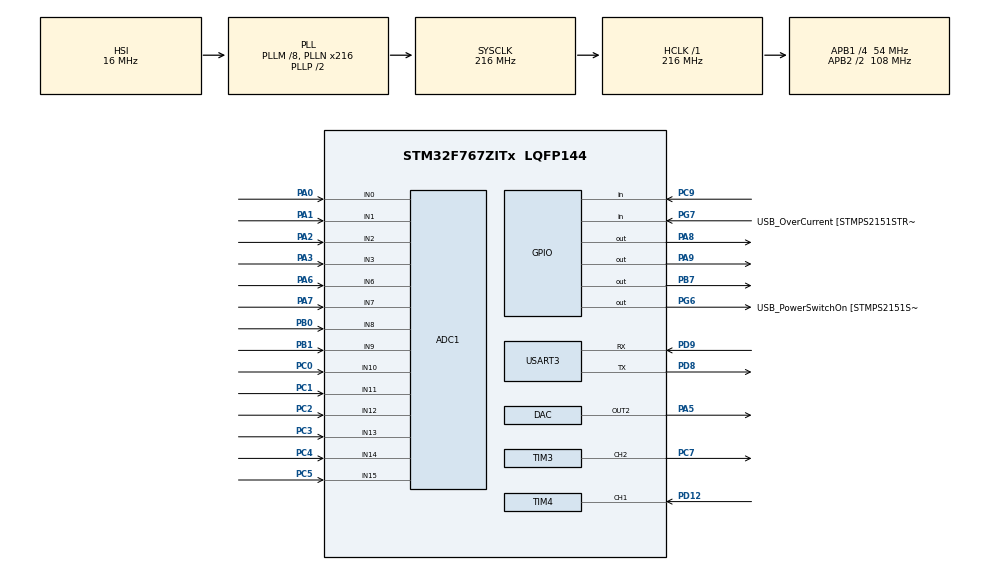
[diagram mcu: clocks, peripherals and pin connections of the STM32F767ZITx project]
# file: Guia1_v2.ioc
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ADC1.Channel-2\#ChannelRegularConversion=ADC_CHANNEL_0
ADC1.ExternalTrigConv=ADC_SOFTWARE_START
ADC1.NbrOfConversionFlag=1
ADC1.Rank-2\#ChannelRegularConversion=1
ADC1.SamplingTime-2\#ChannelRegularConversion=ADC_SAMPLETIME_3CYCLES
ADC1.master=1
DAC.DAC_Trigger2=DAC_TRIGGER_T2_TRGO
Dma.DAC2.0.Direction=DMA_MEMORY_TO_PERIPH
Dma.DAC2.0.FIFOMode=DMA_FIFOMODE_DISABLE
Dma.DAC2.0.Instance=DMA1_Stream6
Dma.DAC2.0.MemDataAlignment=DMA_MDATAALIGN_WORD
Dma.DAC2.0.MemInc=DMA_MINC_ENABLE
Dma.DAC2.0.Mode=DMA_CIRCULAR
Dma.DAC2.0.PeriphDataAlignment=DMA_PDATAALIGN_WORD
Dma.DAC2.0.PeriphInc=DMA_PINC_DISABLE
Dma.DAC2.0.Priority=DMA_PRIORITY_LOW
Dma.Request0=DAC2
Mcu.Family=STM32F7
Mcu.Name=STM32F767ZITx
Mcu.Package=LQFP144
NVIC.DMA1_Stream6_IRQn=true\:0\:0\:false\:false\:true\:false\:true
NVIC.PriorityGroup=NVIC_PRIORITYGROUP_4
NVIC.TIM1_BRK_TIM9_IRQn=true\:0\:0\:false\:false\:true\:true\:true
NVIC.TIM2_IRQn=true\:0\:0\:false\:false\:true\:true\:true
NVIC.TIM4_IRQn=true\:0\:0\:false\:false\:true\:true\:true
NVIC.TIM6_DAC_IRQn=true\:0\:0\:false\:false\:true\:true\:true
NVIC.TIM7_IRQn=true\:0\:0\:false\:false\:true\:true\:true
NVIC.USART3_IRQn=true\:0\:0\:false\:false\:true\:true\:true
PA0/WKUP.Signal=ADCx_IN0
PA1.Signal=ADCx_IN1
PA13.Mode=Serial_Wire
PA13.Signal=SYS_JTMS-SWDIO
PA14.Mode=Serial_Wire
PA14.Signal=SYS_JTCK-SWCLK
PA2.Signal=ADCx_IN2
PA3.Signal=ADCx_IN3
PA5.Signal=COMP_DAC2_group
PA6.Signal=ADCx_IN6
PA7.Signal=ADCx_IN7
PA8.Signal=GPIO_Output
PA9.Signal=GPIO_Output
PB0.Signal=ADCx_IN8
PB1.Signal=ADCx_IN9
PB7.Signal=GPIO_Output
PC0.Signal=ADCx_IN10
PC1.Signal=ADCx_IN11
PC2.Signal=ADCx_IN12
PC3.Signal=ADCx_IN13
PC4.Signal=ADCx_IN14
PC5.Signal=ADCx_IN15
PC7.Signal=S_TIM3_CH2
PC9.Signal=GPIO_Input
PD12.Signal=S_TIM4_CH1
PD8.Mode=Asynchronous
PD8.Signal=USART3_TX
PD9.Mode=Asynchronous
PD9.Signal=USART3_RX
PG6.GPIO_Label=USB_PowerSwitchOn [STMPS2151STR_EN]
PG6.Signal=GPIO_Output
PG7.GPIO_Label=USB_OverCurrent [STMPS2151STR_FAULT]
PG7.Signal=GPIO_Input
ProjectManager.HeapSize=0x200
ProjectManager.StackSize=0x400
ProjectManager.TargetToolchain=MDK-ARM V5.27
RCC.48MHZClocksFreq_Value=24000000
RCC.AHBFreq_Value=216000000
RCC.APB1CLKDivider=RCC_HCLK_DIV4
RCC.APB1Freq_Value=54000000
RCC.APB1TimFreq_Value=108000000
RCC.APB2CLKDivider=RCC_HCLK_DIV2
RCC.APB2Freq_Value=108000000
RCC.APB2TimFreq_Value=216000000
RCC.CortexFreq_Value=216000000
RCC.HCLKFreq_Value=216000000
RCC.HSE_VALUE=16000000
RCC.HSI_VALUE=16000000
RCC.LSE_VALUE=32768
RCC.PLLM=8
RCC.PLLMUL=RCC_PLL_MUL9
RCC.PLLN=216
RCC.PRESCALERUSB=RCC_USBCLKSOURCE_PLL_DIV1_5
RCC.SYSCLKFreq_VALUE=216000000
RCC.SYSCLKSource=RCC_SYSCLKSOURCE_PLLCLK
RCC.SYSCLKSourceVirtual=RCC_SYSCLKSOURCE_PLLCLK
RCC.USBFreq_Value=216000000
RCC.VCOOutputFreq_Value=432000000
SH.ADCx_IN0.0=ADC1_IN0,IN0
SH.ADCx_IN1.0=ADC1_IN1,IN1
SH.ADCx_IN10.0=ADC1_IN10,IN10
SH.ADCx_IN11.0=ADC1_IN11,IN11
SH.ADCx_IN12.0=ADC1_IN12,IN12
SH.ADCx_IN13.0=ADC1_IN13,IN13
SH.ADCx_IN14.0=ADC1_IN14,IN14
SH.ADCx_IN15.0=ADC1_IN15,IN15
SH.ADCx_IN2.0=ADC1_IN2,IN2
SH.ADCx_IN3.0=ADC1_IN3,IN3
SH.ADCx_IN6.0=ADC1_IN6,IN6
SH.ADCx_IN7.0=ADC1_IN7,IN7
SH.ADCx_IN8.0=ADC1_IN8,IN8
SH.ADCx_IN9.0=ADC1_IN9,IN9
SH.COMP_DAC2_group.0=DAC_OUT2,DAC_OUT2
SH.S_TIM3_CH2.0=TIM3_CH2,PWM Generation2 CH2
SH.S_TIM4_CH1.0=TIM4_CH1,Input_Capture1_from_TI1
TIM2.Period=36000-1
TIM2.Prescaler=1-1
TIM2.TIM_MasterOutputTrigger=TIM_TRGO_UPDATE
TIM3.AutoReloadPreload=TIM_AUTORELOAD_PRELOAD_ENABLE
TIM3.Channel-PWM\ Generation2\ CH2=TIM_CHANNEL_2
TIM3.Period=25000
TIM3.Prescaler=3
TIM3.TIM_MasterOutputTrigger=TIM_TRGO_OC2REF
TIM4.AutoReloadPreload=TIM_AUTORELOAD_PRELOAD_DISABLE
TIM4.Channel-Input_Capture1_from_TI1=TIM_CHANNEL_1
TIM6.AutoReloadPreload=TIM_AUTORELOAD_PRELOAD_ENABLE
TIM6.TIM_MasterOutputTrigger=TIM_TRGO_RESET
TIM7.AutoReloadPreload=TIM_AUTORELOAD_PRELOAD_ENABLE
TIM9.AutoReloadPreload=TIM_AUTORELOAD_PRELOAD_ENABLE
USART3.VirtualMode-Asynchronous=VM_ASYNC
VP_TIM2_VS_ClockSourceINT.Mode=Internal
VP_TIM6_VS_ClockSourceINT.Mode=Enable_Timer
VP_TIM7_VS_ClockSourceINT.Mode=Enable_Timer
VP_TIM9_VS_ClockSourceINT.Mode=Internal
board=NUCLEO-F767ZI

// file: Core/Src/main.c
/* USER CODE BEGIN Header */
/**
  ******************************************************************************
  * @file           : main.c
  * @brief          : Main program body
  ******************************************************************************
  * @attention
  *
  * <h2><center>&copy; Copyright (c) 2021 STMicroelectronics.
  * All rights reserved.</center></h2>
  *
  * This software component is licensed by ST under BSD 3-Clause license,
  * the "License"; You may not use this file except in compliance with the
  * License. You may obtain a copy of the License at:
  *                        opensource.org/licenses/BSD-3-Clause
  *
  ******************************************************************************
  */
/* USER CODE END Header */
#include "main.h"
#include "adc.h"
#include "dac.h"
#include "dma.h"
#include "tim.h"
#include "usart.h"
#include "gpio.h"

/* USER CODE BEGIN Includes */
#include "stdio.h"
#include "stdlib.h"
#include "string.h"
#include "ctype.h"
#include "math.h"

/* USER CODE END Includes */

/* USER CODE BEGIN PTD */
extern signal_s *adc_signal;
extern sampling_s *sampling;
extern pid_s *pid;
extern uint8_t sampling_print;
extern char sampling_buffer[20];

/* USER CODE END PTD */

/* USER CODE BEGIN PD */
//#define MR 	0x4D52
//#define MW 	0x4D57
//#define MI 	0x4D49
//#define MO 	0x4D4F
//#define RD 	0x5244
//#define WD 	0x5744
//#define RA 	0x5241
//#define VER 0x564552
//#define WG 	0x5747
//#define SIN 0x53494E
//#define SQR 0x535152
//#define TRI 0x545249
//#define STW 0x535457
//#define OFF 0x4F4646
#define SP 	0x5350
#define AC 	0x4143
#define FN 	0x464E
#define FF 	0x4646
#define S 	0x53
#define ST 	0x5354
#define MS 0X4D53
#define MICRO 0x4D494352
#define CS 	0x4353
#define EN 	0x454E
#define UN 	0x554E
//#define VR 	0x5652
#define HW 	0x4857
#define FSW 	0x465357
#define SW 	0x5357
#define STW 	0x535457
#define  AUT 0x415554
#define  YR 0x5952
#define  KD 0x4B44
#define  KI 0x4B49
#define  KP 0x4B50
#define  A 0x41
#define  H 0x48
#define  U 0x55
#define  US 0x5553

#define PORT_A 0x40020000U
#define PORT_B 0x40020400U
#define PORT_C 0x40020800U
#define PORT_D 0x40020C00U
#define PORT_E 0x40021000U
#define PORT_F 0x40021400U
#define PORT_G 0x40021800U
#define PORT_H 0x40021C00U
#define PORT_I 0x40022000U
#define PORT_J 0x40022400U
#define PORT_K 0x40022800U
#define PORT_K_END 0x40022BFFU

#define VERIFY_LIMITS(a, b, c, d)\
if(a / b < 1) c = a;\
else return d;

typedef struct command {
	unsigned short addr;
	uint32_t port_addr, addr3, freq;
	int signval;
	uint16_t pin_setting, pin_values;
	char instruction[4], signal[4], lenght, byte;
}command_c;

/* USER CODE END PD */

/* USER CODE BEGIN PV */

uint8_t memory_buffer[0x1000]={0};
unsigned char Rx_indx;
char adc_buffer[10];
uint8_t control_mode;
uint8_t enable;
uint8_t control;
float v_ref;
/* USER CODE END PV */

void SystemClock_Config(void);

/* USER CODE BEGIN 0 */

GPIO_TypeDef* Discover_Port(command_c* command){
	if (command->port_addr >= PORT_A && command->port_addr < PORT_B) {__HAL_RCC_GPIOA_CLK_ENABLE(); return GPIOA;}
	else if (command->port_addr >= PORT_B && command->port_addr < PORT_C) {__HAL_RCC_GPIOB_CLK_ENABLE(); return GPIOB;}
	else if (command->port_addr >= PORT_C && command->port_addr < PORT_D) {__HAL_RCC_GPIOC_CLK_ENABLE(); return GPIOC;}
	else if (command->port_addr >= PORT_D && command->port_addr < PORT_E) {__HAL_RCC_GPIOD_CLK_ENABLE(); return GPIOD;}
	else if (command->port_addr >= PORT_E && command->port_addr < PORT_F) {__HAL_RCC_GPIOE_CLK_ENABLE(); return GPIOE;}
	else if (command->port_addr >= PORT_F && command->port_addr < PORT_G) {__HAL_RCC_GPIOF_CLK_ENABLE(); return GPIOF;}
	else if (command->port_addr >= PORT_G && command->port_addr < PORT_H) {__HAL_RCC_GPIOG_CLK_ENABLE(); return GPIOG;}
	else if (command->port_addr >= PORT_H && command->port_addr < PORT_I) {__HAL_RCC_GPIOH_CLK_ENABLE(); return GPIOH;}
	else if (command->port_addr >= PORT_I && command->port_addr < PORT_J) {__HAL_RCC_GPIOI_CLK_ENABLE(); return GPIOI;}
	else if (command->port_addr >= PORT_J && command->port_addr < PORT_K) {__HAL_RCC_GPIOJ_CLK_ENABLE(); return GPIOJ;}
	else if (command->port_addr >= PORT_K && command->port_addr < PORT_K_END) {__HAL_RCC_GPIOK_CLK_ENABLE(); return GPIOK;}
	return NULL;
}

int verify_instruction(char comm_instruction[4]) {
	switch (strlen(comm_instruction)) {
	case 1:
		return comm_instruction[0];
	case 2:
		return ((comm_instruction[0] << 8) + comm_instruction[1]);
	case 3:
		return ((comm_instruction[0] << 16) + (comm_instruction[1] << 8) + comm_instruction[2]);
	default:
		return 0;
	}
}

void execution(command_c *command){
	int instruction=0, signal=0, timeunit=0, counter=0;
	char buffer[128]={0};
//	uint16_t adcValue;
//	GPIO_InitTypeDef GPIO_Struct;
//	GPIO_TypeDef * port;
	instruction=verify_instruction(command->instruction);
	switch (instruction){
//		case MR:
//			print_message("Memory reading\n");
//			HAL_Delay(500);
//			for(int i=0; i<command->lenght; i++){
//				sprintf(buffer, " -> Position 0x%X: %X", (command->addr+i), memory_buffer[command->addr+i]);
//				print_message(buffer);
//				HAL_Delay(500);
//			}
//			break;
//
//		case MW:
//			print_message("Memory Writing\n");
//			HAL_Delay(500);
//			for(int i=0; i<command->lenght; i++){
//				memory_buffer[command->addr+i]=command->byte;
//				sprintf(buffer, " -> Position 0x%X: %X", (command->addr+i), memory_buffer[command->addr+i]);
//				print_message(buffer);
//				HAL_Delay(500);
//			}
//			break;
//
//		case MI:
//		case MO:
//			if (Discover_Port(command) != NULL) port=Discover_Port(command);
//			GPIO_Struct.Pin |= command->pin_setting;
//			GPIO_Struct.Pull = GPIO_NOPULL;
//			switch(instruction){
//				case MI:
//					print_message("Making Pin as Input\n");
//					GPIO_Struct.Mode=GPIO_MODE_INPUT;
//					break;
//				case MO:
//					print_message("Making Pin as Output\n");
//					HAL_GPIO_WritePin(port, command->pin_setting, GPIO_PIN_RESET);
//					GPIO_Struct.Mode=GPIO_MODE_OUTPUT_PP;
//					GPIO_Struct.Speed=GPIO_SPEED_FREQ_LOW;
//					break;
//			}
//			HAL_GPIO_Init(port,&GPIO_Struct);
//			HAL_Delay(500);
//			break;
//
//		case RD:
//		case WD:
//			if (Discover_Port(command) != NULL) port=Discover_Port(command);
//			switch(instruction){
//				case RD:
//					print_message("Reading Pins\n");
//					for(int i=0; i<16; i++){
//						if(command->pin_setting & (1<<i)){
//							sprintf(buffer, "Pin %d Logic Value: %d",i, HAL_GPIO_ReadPin(port, (1<<i)));
//							print_message(buffer);
//					 }
//					}
//					break;
//				case WD:
//					print_message("Writing Pins\n");
//					for(int i=0; i<16; i++){
//						if(command->pin_values & (1<<i)){
//							HAL_GPIO_WritePin(port, (1<<i), GPIO_PIN_SET);
//						}
//
//							else{
//								HAL_GPIO_WritePin(port, (1<<i), GPIO_PIN_RESET);
//							}
//
//
//					}
//					break;
//			}
//			HAL_Delay(500);
//			break;

//		case RA:
//			HAL_ADC_Start(&hadc1);
//			HAL_ADC_PollForConversion(&hadc1, HAL_MAX_DELAY);
//			adcValue=HAL_ADC_GetValue(&hadc1);
//			HAL_ADC_Stop(&hadc1);
//			sprintf(buffer, "ADC Value : %hu", adcValue);
//			print_message(buffer);
//			HAL_Delay(500);
//			break;
//
//		case VER:
//			print_message("v2.0 turno 2 grupo 8\n");
//			HAL_Delay(500);
//			break;
//
////		case WG:
////			print_message("Wave generator\n");
////			signal = verify_instruction(command->signal);
////			switch(signal){
////				case SIN:
////					print_message("Wave sin\n");
////					wavegen_sin();
////					wavegen_freq_update(command->freq);
////					wavegen_start();
////					break;
////				case SQR:
////					wavegen_sqr();
////					wavegen_freq_update(command->freq);
////					wavegen_start();
////					break;
////				case TRI:
////					wavegen_tri();
////					wavegen_freq_update(command->freq);
////					wavegen_start();
////					break;
////				case STW:
////					wavegen_stw();
////					wavegen_freq_update(command->freq);
////					wavegen_start();
////					break;
////			}
////		break;
////
////		case OFF:
////			wavegen_stop();
////			break;
////
		case S:
			print_message("Starting. . .\r\n");
			MX_TIM6_Init();
			HAL_ADC_Start(&hadc1);
			HAL_TIM_Base_Start_IT(&htim6);
			break;
		case ST:
			HAL_TIM_Base_Stop_IT(&htim6);
			adc_signal->k_index = 0;
			print_message("Sampling Stopped.\r\n");
			break;
		case SP:
			timeunit = verify_instruction(adc_signal->timeunit);
			switch(timeunit){
				case MICRO:
					Tsample = adc_signal->units * 0.000001;
					break;
				case MS:
					Tsample = adc_signal->units * 0.001;
					break;
				case S:
					Tsample = adc_signal->units;
					break;
			}
			sprintf(buffer, "Ts = %f s\r\n", Tsample);
			print_message(buffer);
			break;
		case AC:
			adcChannel=Discover_AdcChannel(adc_signal->adc_channel);
			MX_ADC1_Init();
			sprintf(buffer, "Activating ADC Channel %d . . .\r\n", adc_signal->adc_channel);
			print_message(buffer);
			break;
//		case FN:
//			filter = 1;
//			print_message("Filter ON\r\n");
//			break;
//		case FF:
//			filter = 0;
//			print_message("Filter OFF\r\n");
//			break;

		case CS:
			signal=verify_instruction(command->signal);
			switch(signal){
				case 0x30:
					control_mode=0;
					break;
				case 0x31:
					control_mode=1;
					break;
			}
			break;

			case EN:
			signal=verify_instruction(command->signal);
			switch(signal){
				case 0x30:
					control=0;
					HAL_GPIO_WritePin(GPIOA, GPIO_PIN_8, GPIO_PIN_RESET); //PINO ENABLE PA8
					break;
				case 0x31:
					control=1;
					HAL_GPIO_WritePin(GPIOA, GPIO_PIN_8, GPIO_PIN_SET); //PINO ENABLE PA8
					break;
			}
			break;

			case UN:
				if(!control_mode && control){
					if (command->signval >=1 && command->signval<=100){
						HAL_GPIO_WritePin(GPIOA, GPIO_PIN_9, GPIO_PIN_SET); //pino fw pa9
					}
					else if (command->signval <=-1 && command->signval>=-100){
						HAL_GPIO_WritePin(GPIOA, GPIO_PIN_9, GPIO_PIN_RESET); ////pino rv pa9
					}
					counter=abs(command->signval);
					__HAL_TIM_SET_COMPARE(&htim3, TIM_CHANNEL_2, abs(counter*540));
				}
			break;

//			case VR:
//				if(control_mode && control){
//					v_ref = command->signval;
//					if (v_ref >=1 && v_ref<=160){
//						HAL_GPIO_WritePin(GPIOA, GPIO_PIN_9, GPIO_PIN_SET); //pino fw pa9
//					}
//					else if (v_ref <=-1 && v_ref<=-160){
//						HAL_GPIO_WritePin(GPIOA, GPIO_PIN_9, GPIO_PIN_RESET); ////pino rv pa9
//					}
////					atualiza_PWM();
//				}
//			break;

			case HW:
			timeunit = verify_instruction(sampling->timeunit);
			switch(timeunit){
				case MICRO:
					Tsample2 = sampling->units * 0.000001;
					break;
				case MS:
					Tsample2 = sampling->units * 0.001;
					break;
				case S:
					Tsample2 = sampling->units;
					break;
			}
			sprintf(buffer, "Ts = %f s\r\n", Tsample2);
			print_message(buffer);
			break;

			case FSW:
				sampling->multiplier = command->signval;			//multiplier predefinido com 1
				sprintf(buffer, "Multiplier = %d \r\n", sampling->multiplier);
				print_message(buffer);
			break;

			case SW:
				sprintf(buffer, "Sampling. . . \r\n");
				print_message(buffer);

				MX_TIM4_Init();
				MX_TIM7_Init();
				HAL_TIM_Base_Start_IT(&htim7);
				HAL_TIM_IC_Start_IT(&htim4, TIM_CHANNEL_1);
			break;

			case STW:
				HAL_TIM_Base_Stop_IT(&htim7);
				HAL_TIM_IC_Stop_IT(&htim4, TIM_CHANNEL_1);
				sampling->k_index = 0;
				sprintf(buffer, "Sampling Stopped. \r\n");
				print_message(buffer);
			break;

			case H:
			timeunit = verify_instruction(pid->timeunit);
			switch(timeunit){
				case MICRO:
					Tsample3 = pid->units * 0.000001;
					break;
				case MS:
					Tsample3 = pid->units * 0.001;
					break;
				case S:
					Tsample3 = pid->units;
					break;
			}
			sprintf(buffer, "Ts = %f s\r\n", Tsample3);
			print_message(buffer);
			break;

			case AUT:
				pid->aut = command->signval;
			break;

//			case YR:
//				pid->yr = command->signval;
//			break;
//
//			case KD:
//				pid->kd = command->signval;
//				pid->kd_h = pid->kd/Tsample3;
//			break;
//
//			case KI:
//				pid->ki = command->signval;
//				pid->ki_h = pid->ki * Tsample3;
//			break;
//
//			case KP:
//				pid->kp = command->signval;
//				pid->kp_h = pid->kp;
//			break;
//
//			case A:
//				pid->a = command->signval;
//			break;

			case U:
				print_message("Starting. . .\r\n");
				MX_TIM9_Init();
				HAL_TIM_Base_Start_IT(&htim9);
				pid->sum_e = 0;
			break;

			case US:
				HAL_TIM_Base_Stop_IT(&htim9);
				pid->index = 0;
				pid->p_index = 0;
//				pid->sum_e = 0;
//				pid->sum_e_bkp = 0;
//				pid->e_ant = 0;
				print_message("Sampling Stopped.\r\n");
			break;

		default:
			break;
	}
}

int parsing(char buffer[128], command_c *command) {
	unsigned int i=0, j=0;
	char lixo[128], *p=NULL, buffer_aux[128]={""};

	strcpy(buffer_aux, buffer);
	p = strtok(buffer, " ");
	if (p != NULL) strcpy(command->instruction, p);
	strcpy(buffer, buffer_aux);

	switch (verify_instruction(command->instruction)){
//		case MR:
//			if(sscanf(buffer, "%s %x %x %s", command->instruction, &i, &j, lixo) > 3 || sscanf(buffer, "%s %x %x %s", command->instruction, &i, &j, lixo) <3)return 1;
//			VERIFY_LIMITS(i, 0x10000, command->addr, 2)
//			VERIFY_LIMITS(j, 0x100, command->lenght, 3)
//			break;
//
//		case MW:
//			if(sscanf(buffer, "%s %x %x %x %s", command->instruction, &i, &j, &k, lixo) > 4 || sscanf(buffer, "%s %x %x %x %s", command->instruction, &i, &j, &k, lixo) < 4) return 1;
//			VERIFY_LIMITS(i, 0x10000, command->addr, 2)
//			VERIFY_LIMITS(j, 0x100, command->lenght, 3)
//			VERIFY_LIMITS(k, 0x100, command->byte, 4)
//			break;
//
//		case MI:
//		case MO:
//			if(sscanf(buffer, "%s %x %x %s", command->instruction, &i, &j, lixo) > 3 || sscanf(buffer, "%s %x %x %s", command->instruction, &i, &j, lixo) < 3) return 1;
//			VERIFY_LIMITS(i, 0x100000000, command->port_addr, 5)
//			VERIFY_LIMITS(j, 0x10000, command->pin_setting, 6)
//			break;
//
//		case RD:
//			if(sscanf(buffer, "%s %x %x %s", command->instruction, &i, &j, lixo) > 3 || sscanf(buffer, "%s %x %x %s", command->instruction, &i, &j, lixo) < 3) return 1;
//			VERIFY_LIMITS(i, 0x100000000, command->port_addr, 5)
//			VERIFY_LIMITS(j, 0x10000, command->pin_setting, 6)
//			break;
//
//		case WD:
//			if(sscanf(buffer, "%s %x %x %x %s", command->instruction, &i, &j, &k, lixo) > 4 || sscanf(buffer, "%s %x %x %x %s", command->instruction, &i, &j, &k, lixo) < 4) return 1;
//			VERIFY_LIMITS(i, 0x100000000, command->port_addr, 5)
//			VERIFY_LIMITS(j, 0x10000, command->pin_setting, 6)
//			VERIFY_LIMITS(k, 0x10000, command->pin_values, 7)
//			break;
//
//		case RA:
//			if(sscanf(buffer, "%s %x %s", command->instruction, &i, lixo) > 2 || sscanf(buffer, "%s %x %s", command->instruction, &i, lixo) < 2) return 1;
//			VERIFY_LIMITS(i, 0x12, command->addr3, 8)
//			break;
//
//		case VER:
//			if(sscanf(buffer, "%s %s", command->instruction, lixo) > 1 || sscanf(buffer, "%s %s", command->instruction, lixo) < 1) return 1;
//			break;

		case 0x3F:
			if (sscanf(buffer, "%s %s", command->instruction, lixo) > 1 || sscanf(buffer, "%s %s", command->instruction, lixo) < 1) return 1;
			break;

//		case WG:
//			if(sscanf(buffer, "%s %s %x %s", command->instruction, command->signal, &j, lixo) > 3 || sscanf(buffer, "%s %s %x %s", command->instruction, command->signal, &j, lixo) < 3) return 1;
//			VERIFY_LIMITS(j, 0x150, command->freq, 8)
//			break;
//
//		case OFF:
//			if(sscanf(buffer, "%s %s", command->instruction, lixo) > 1 || sscanf(buffer, "%s %s", command->instruction, lixo) < 1) return 1;
//			break;

		case SP:
			if(sscanf(buffer, "%s %s %d %s", command->instruction, adc_signal->timeunit, &i, lixo) > 3 || sscanf(buffer, "%s %s %d %s", command->instruction, adc_signal->timeunit, &i, lixo) < 3) return 1;
			VERIFY_LIMITS(i, 0x10000, adc_signal->units, 8)
			break;

		case AC:
			if(sscanf(buffer, "%s %x %s", command->instruction, &i, lixo) > 2 || sscanf(buffer, "%s %x %s", command->instruction, &i, lixo) < 2) return 1;
			VERIFY_LIMITS(i, 0x10, adc_signal->adc_channel, 8)
			break;

		case FF:
			if(sscanf(buffer, "%s %s", command->instruction, lixo) > 1 || sscanf(buffer, "%s %s", command->instruction, lixo) < 1) return 1;
			break;

		case FN:
			if(sscanf(buffer, "%s %s", command->instruction, lixo) > 1 || sscanf(buffer, "%s %s", command->instruction, lixo) < 1) return 1;
			break;

		case S:
			if(sscanf(buffer, "%s %d %s", command->instruction, &i, lixo) > 2) return 1;
			VERIFY_LIMITS(i, 0x10000, adc_signal->k, 8)
			break;

		case ST:
			if(sscanf(buffer, "%s %s", command->instruction, lixo) > 1 || sscanf(buffer, "%s %s", command->instruction, lixo) < 1) return 1;
			break;

		case CS:
			if(sscanf(buffer, "%s %s %s", command->instruction, command->signal, lixo) > 2 || sscanf(buffer, "%s %s %x %s", command->instruction, command->signal, &j, lixo) < 2) return 1;
			break;

		case EN:
			if(sscanf(buffer, "%s %s %s", command->instruction, command->signal, lixo) > 2 || sscanf(buffer, "%s %s %x %s", command->instruction, command->signal, &j, lixo) < 2) return 1;
			break;

		case UN:
			if(sscanf(buffer, "%s %d %s", command->instruction, &i, lixo) > 2 || sscanf(buffer, "%s %d %s", command->instruction, &i, lixo) < 2) return 1;
			VERIFY_LIMITS(i, 101, command->signval, 8)
			break;

//		case VR:
//			if(sscanf(buffer, "%s %d %s", command->instruction, &i, lixo) > 2 || sscanf(buffer, "%s %d %s", command->instruction, &i, lixo) < 2) return 1;
//			VERIFY_LIMITS(i, 0xA0, command->signval, 8)
//			break;

		case HW:
			if(sscanf(buffer, "%s %s %d %s", command->instruction, sampling->timeunit, &i, lixo) > 3 || sscanf(buffer, "%s %s %d %s", command->instruction, sampling->timeunit, &i, lixo) < 3) return 1;
			VERIFY_LIMITS(i, 0x10000, sampling->units, 8)
			break;

		case FSW:
			if (sscanf(buffer, "%s %d %s", command->instruction, &command->signval, lixo) > 2 || sscanf(buffer, "%s %d %s", command->instruction, &command->signval, lixo) < 2) return 1;
			if (command->signval > 100 || command->signval < -100) return 1;
			break;

		case SW:
			if(sscanf(buffer, "%s %d %s", command->instruction, &i, lixo) > 2) return 1;
			VERIFY_LIMITS(i, 0x10000, sampling->k, 8)
			break;

		case STW:
			if(sscanf(buffer, "%s %s", command->instruction, lixo) > 1 || sscanf(buffer, "%s %s", command->instruction, lixo) < 1) return 1;
			break;

		case AUT:
			if(sscanf(buffer, "%s %d %s", command->instruction, &command->signval, lixo) > 2 || sscanf(buffer, "%s %s", command->instruction, lixo) < 2) return 1;
			break;

		case YR:
			if(sscanf(buffer, "%s %d %s", command->instruction, &command->signval, lixo) > 2 || sscanf(buffer, "%s %s", command->instruction, lixo) < 2) return 1;
			break;

		case KD:
			if(sscanf(buffer, "%s %d %s", command->instruction, &command->signval, lixo) > 2 || sscanf(buffer, "%s %s", command->instruction, lixo) < 2) return 1;
			break;

		case KI:
			if(sscanf(buffer, "%s %d %s", command->instruction, &command->signval, lixo) > 2 || sscanf(buffer, "%s %s", command->instruction, lixo) < 2) return 1;
			break;

		case KP:
			if(sscanf(buffer, "%s %d %s", command->instruction, &command->signval, lixo) > 2 || sscanf(buffer, "%s %s", command->instruction, lixo) < 2) return 1;
			break;

		case A:
			if(sscanf(buffer, "%s %d %s", command->instruction, &command->signval, lixo) > 2 || sscanf(buffer, "%s %s", command->instruction, lixo) < 2) return 1;
			break;

		case H:
			if(sscanf(buffer, "%s %s %d %s", command->instruction, pid->timeunit, &i, lixo) > 3 || sscanf(buffer, "%s %s %d %s", command->instruction, pid->timeunit, &i, lixo) < 3) return 1;
			VERIFY_LIMITS(i, 0x10000, pid->units, 8)
			break;

		case U:
			if(sscanf(buffer, "%s %s", command->instruction, lixo) > 1 || sscanf(buffer, "%s %s", command->instruction, lixo) < 1) return 1;
			break;

		case US:
			if(sscanf(buffer, "%s %s", command->instruction, lixo) > 1 || sscanf(buffer, "%s %s", command->instruction, lixo) < 1) return 1;
			break;

		default:
			return 1;
	}
	return 0;
}

char push_FIFO(char buffer[128])
{
	for (int i=0;i<(255);i++)
		if(Rx_Buffer[i]=='\0'){
			return buffer[Rx_indx];
		}
		else buffer[Rx_indx++]=Rx_Buffer[i];
		return buffer[Rx_indx];

}

char empty_FIFO(char Rx_Buffer[128])
{
	int i;

	for (i=0;i<(255);i++)
				Rx_Buffer[i]=0;

	return Rx_Buffer[i];
}

	char BackSpace(char buffer[128])
{
	if(Rx_indx != 0)
	{
		buffer[--Rx_indx]=0;
	}

	if(Rx_indx == 0)
	{
		buffer[1]=0;
		buffer[0]=0;
	}
	return buffer[Rx_indx];
}

char empty_buffer(char buffer [128])
{
	uint8_t i;

	for (i=0;i<255;i++)
				buffer[i]=0;

	return buffer[i];
}

//void empty_x_buffer(signal_s *adc_signal)
//{
//	for(int i=0; i<MAX_INDEX; i++)
//		adc_signal->x[i]=0;
//}

/* USER CODE END 0 */

int main(void)
{

  /* MCU Configuration--------------------------------------------------------*/

  /* Reset of all peripherals, Initializes the Flash interface and the Systick. */
  HAL_Init();

  /* USER CODE BEGIN Init */

	char buffer[128];
	int i = 0, valid=0;
	command_c *command;
	char last_succ_command [128];
	uint32_t k = 0;
  /* USER CODE END Init */

  /* Configure the system clock */
  SystemClock_Config();

  /* Initialize all configured peripherals */
  MX_GPIO_Init();
  MX_DMA_Init();
  MX_USART3_UART_Init();
  MX_ADC1_Init();
  MX_DAC_Init();
  MX_TIM2_Init();
  MX_TIM6_Init();
  MX_TIM3_Init();
  MX_TIM7_Init();
  MX_TIM4_Init();
  MX_TIM9_Init();
  /* USER CODE BEGIN 2 */
	command = malloc(sizeof(command_c));
	adc_signal = malloc(sizeof(signal_s));
	adc_signal->index = 1;
	adc_signal->k_index = 0;
	sampling = malloc(sizeof(sampling_s));
	sampling->multiplier = 1;
	sampling->index = 1;
	sampling->k_index = 0;
	pid->sum_e = 0;
	pid->e_ant=0;
	pid->yr = 1;
	pid->kd = 0;
	pid->ki = 0;
	pid->kp = 0;
	pid->kd_h = 3.35;
	pid->ki_h = 0;
	pid->kp_h = 0;
	pid->a = 0.33;
//	pid->index=0;
//	pid->p_index=0;
	pid->u=0;
	pid->y = 0;
	pid->sum_e_bkp = 0;
	pid->aut = 1;
	pid->U_sat_a = 1.0;
	pid->U_sat_b = -1.0;
	pid->p_index=0;
	init_UART3();
	HAL_TIM_PWM_Start(&htim3, TIM_CHANNEL_2);
//	empty_x_buffer(adc_signal);
//	wavegen_init();
	print_message(">");

  /* USER CODE END 2 */

  /* Infinite loop */
  /* USER CODE BEGIN WHILE */
  while (1)
  {
//		switch(pid_print){
//			case 1:
//				sprintf(sampling_buffer, "%d %.2f %.2f %.2f", pid->p_index, x[pid->index], pid->u, pid->sum_e);
//				print_message(sampling_buffer);
//				pid_print = 0;
//				pid->index++;
//				pid->p_index++;
//				if(pid->index == 20){
//					pid->index=0;
//				}
//			break;
//		}
		switch(sampling_print){
			case 1:
				sprintf(sampling_buffer, "N:%d V:%d", sampling->k_index, sampling->x[sampling->index]);		//pode ser index-1
			if(sampling->k != 0)
				k = sampling->k - sampling->k_index;
			else k = 0;
				switch(k){
					case 1:
						HAL_TIM_Base_Stop_IT(&htim7);
						HAL_TIM_Base_Stop_IT(&htim4);
						sampling->k_index = 0;
//						HAL_GPIO_WritePin(GPIOF, GPIO_PIN_1, GPIO_PIN_RESET);
//						HAL_GPIO_WritePin(GPIOF, GPIO_PIN_2, GPIO_PIN_RESET);
						break;
					default:
						sampling->k_index++;
			}
			print_message(sampling_buffer);
			sampling_print = 0;
		}
		switch (adc_print){
			case 1:
				sprintf(adc_buffer, "%d %d", adc_signal->k_index, send);
			if(adc_signal->k != 0)
				k = adc_signal->k - adc_signal->k_index;
			else k = 0;
				switch(k){
					case 1:
						HAL_TIM_Base_Stop_IT(&htim6);
						adc_signal->k_index = 0;
						break;
					default:
						HAL_ADC_Start(&hadc1);
						adc_signal->k_index++;
			}
			print_message(adc_buffer);
			adc_print = 0;
		}
//		HAL_GPIO_WritePin(GPIOB, GPIO_PIN_7, GPIO_PIN_SET);
		newMessage();
		if(receive_flag){
			switch(Rx_Buffer[0]){
				case 8:
					BackSpace(buffer);
					printf(" %s \n", Rx_Buffer);
					printf(" %s \n", buffer);
					break;
//				case '.':
//					printf(" %s \n", buffer);
//					break;
				case '$':
					empty_buffer(buffer);
					Rx_indx = 0;
					parsing(last_succ_command,command);
					execution(command);
					break;
				case 27:
					empty_buffer(buffer);
					Rx_indx = 0;
					print_message("Buffer has been cleared\n");
					break;
				case 0x3F:
					print_commands();
					HAL_Delay(500);
					break;
				case 0x2F:
					if((command->signval+5) < 100) command->signval+=5;
					else command->signval=100;
					if (command->signval <0) HAL_GPIO_WritePin(GPIOA, GPIO_PIN_9, GPIO_PIN_RESET);
					else HAL_GPIO_WritePin(GPIOA, GPIO_PIN_9, GPIO_PIN_SET);
					__HAL_TIM_SET_COMPARE(&htim3, TIM_CHANNEL_2, abs(command->signval*540));
					break;
				case 0x5C:
					if((command->signval-5) > -100) command->signval-=5;
					else command->signval=-100;
					if (command->signval <0) HAL_GPIO_WritePin(GPIOA, GPIO_PIN_9, GPIO_PIN_RESET);
					else HAL_GPIO_WritePin(GPIOA, GPIO_PIN_9, GPIO_PIN_SET);
					__HAL_TIM_SET_COMPARE(&htim3, TIM_CHANNEL_2, abs(command->signval*540));
					break;
				default:
					push_FIFO(buffer);
					break;
				}

			while (buffer[i]){
				buffer[i] = toupper(buffer[i]);
				i++;
			}
			i=0;
			valid= parsing(buffer, command);
			switch(valid){
				case 0:
					execution(command);
					strcpy(last_succ_command,(char*)buffer);
					print_message("\nSuccess\n");
					empty_buffer(buffer);
					Rx_indx = 0;
					break;
				default:
					print_error(valid);
			}

			HAL_GPIO_TogglePin(GPIOB, GPIO_PIN_14);
			receive_flag = 0;
			print_message(">");
		}
		HAL_Delay(100);
    /* USER CODE END WHILE */

  }
}

void SystemClock_Config(void)
{
  RCC_OscInitTypeDef RCC_OscInitStruct = {0};
  RCC_ClkInitTypeDef RCC_ClkInitStruct = {0};
  RCC_PeriphCLKInitTypeDef PeriphClkInitStruct = {0};

  /** Configure the main internal regulator output voltage
  */
  __HAL_RCC_PWR_CLK_ENABLE();
  __HAL_PWR_VOLTAGESCALING_CONFIG(PWR_REGULATOR_VOLTAGE_SCALE1);
  /** Initializes the RCC Oscillators according to the specified parameters
  * in the RCC_OscInitTypeDef structure.
  */
  RCC_OscInitStruct.OscillatorType = RCC_OSCILLATORTYPE_HSI;
  RCC_OscInitStruct.HSIState = RCC_HSI_ON;
  RCC_OscInitStruct.HSICalibrationValue = RCC_HSICALIBRATION_DEFAULT;
  RCC_OscInitStruct.PLL.PLLState = RCC_PLL_ON;
  RCC_OscInitStruct.PLL.PLLSource = RCC_PLLSOURCE_HSI;
  RCC_OscInitStruct.PLL.PLLM = 8;
  RCC_OscInitStruct.PLL.PLLN = 216;
  RCC_OscInitStruct.PLL.PLLP = RCC_PLLP_DIV2;
  RCC_OscInitStruct.PLL.PLLQ = 2;
  if (HAL_RCC_OscConfig(&RCC_OscInitStruct) != HAL_OK)
  {
    Error_Handler();
  }
  /** Activate the Over-Drive mode
  */
  if (HAL_PWREx_EnableOverDrive() != HAL_OK)
  {
    Error_Handler();
  }
  /** Initializes the CPU, AHB and APB buses clocks
  */
  RCC_ClkInitStruct.ClockType = RCC_CLOCKTYPE_HCLK|RCC_CLOCKTYPE_SYSCLK
                              |RCC_CLOCKTYPE_PCLK1|RCC_CLOCKTYPE_PCLK2;
  RCC_ClkInitStruct.SYSCLKSource = RCC_SYSCLKSOURCE_PLLCLK;
  RCC_ClkInitStruct.AHBCLKDivider = RCC_SYSCLK_DIV1;
  RCC_ClkInitStruct.APB1CLKDivider = RCC_HCLK_DIV4;
  RCC_ClkInitStruct.APB2CLKDivider = RCC_HCLK_DIV2;

  if (HAL_RCC_ClockConfig(&RCC_ClkInitStruct, FLASH_LATENCY_7) != HAL_OK)
  {
    Error_Handler();
  }
  PeriphClkInitStruct.PeriphClockSelection = RCC_PERIPHCLK_USART3;
  PeriphClkInitStruct.Usart3ClockSelection = RCC_USART3CLKSOURCE_PCLK1;
  if (HAL_RCCEx_PeriphCLKConfig(&PeriphClkInitStruct) != HAL_OK)
  {
    Error_Handler();
  }
}

void Error_Handler(void)
{
  __disable_irq();
  while (1)
  {
  }
}

/************************ (C) COPYRIGHT STMicroelectronics *****END OF FILE****/
